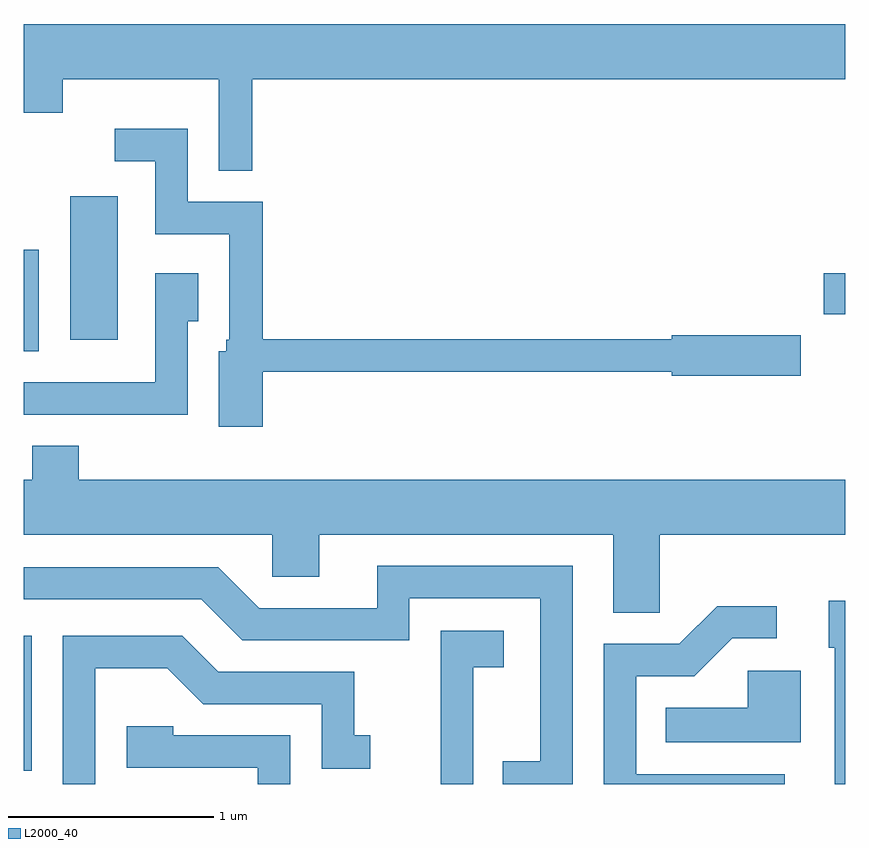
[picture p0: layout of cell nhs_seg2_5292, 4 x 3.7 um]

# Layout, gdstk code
import gdstk
lib = gdstk.Library(unit=1e-6, precision=1e-09)
def R(c, l, rs):  # rectangles x0, y0, x1, y1
    for r in rs: c.add(gdstk.rectangle(r[:2], r[2:], *l))
def P(c, l, *ps):  # polygons
    for p in ps: c.add(gdstk.Polygon(p, *l))
L2000_40 = (2000, 40)

nhs_seg2_5292 = lib.new_cell('nhs_seg2_5292')
R(nhs_seg2_5292, L2000_40, [(341.611,1013.866,341.649,1014.524), (341.611,1015.911,341.684,1016.404), (341.836,1015.966,342.069,1016.664), (345.506,1016.091,345.611,1016.289)])
P(nhs_seg2_5292, L2000_40, [(342.724,1017.236),(345.611,1017.236),(345.611,1017.504),(341.611,1017.504),(341.611,1017.071),(341.799,1017.071),(341.799,1017.236),(342.561,1017.236),(342.561,1016.788),(342.724,1016.788)],
  [(342.774,1015.811),(344.766,1015.811),(344.766,1015.791),(345.394,1015.791),(345.394,1015.989),(344.766,1015.989),(344.766,1015.969),(342.774,1015.969),(342.774,1016.639),(342.409,1016.639),(342.409,1016.994),(342.053,1016.994),(342.053,1016.836),(342.251,1016.836),(342.251,1016.481),(342.611,1016.481),(342.611,1015.965),(342.596,1015.965),(342.596,1015.909),(342.561,1015.909),(342.561,1015.541),(342.774,1015.541)],
  [(342.409,1016.056),(342.459,1016.056),(342.459,1016.289),(342.251,1016.289),(342.251,1015.759),(341.611,1015.759),(341.611,1015.601),(342.409,1015.601)],
  [(344.709,1015.016),(345.611,1015.016),(345.611,1015.284),(341.879,1015.284),(341.879,1015.449),(341.651,1015.449),(341.651,1015.284),(341.611,1015.284),(341.611,1015.016),(342.821,1015.016),(342.821,1014.811),(343.049,1014.811),(343.049,1015.016),(344.481,1015.016),(344.481,1014.636),(344.709,1014.636)],
  [(344.284,1014.864),(343.331,1014.864),(343.331,1014.659),(342.757,1014.659),(342.557,1014.859),(341.611,1014.859),(341.611,1014.701),(342.474,1014.701),(342.674,1014.501),(343.489,1014.501),(343.489,1014.706),(344.126,1014.706),(344.126,1013.914),(343.943,1013.914),(343.943,1013.802),(344.284,1013.802)],
  [(345.611,1014.694),(345.531,1014.694),(345.531,1014.466),(345.561,1014.466),(345.561,1013.802),(345.611,1013.802)],
  [(345.318,1013.849),(344.594,1013.849),(344.594,1014.326),(344.877,1014.326),(345.062,1014.511),(345.278,1014.511),(345.278,1014.669),(344.989,1014.669),(344.804,1014.484),(344.436,1014.484),(344.436,1013.802),(345.318,1013.802)],
  [(343.799,1014.371),(343.949,1014.371),(343.949,1014.549),(343.641,1014.549),(343.641,1013.802),(343.799,1013.802)],
  [(341.959,1014.366),(342.309,1014.366),(342.484,1014.191),(343.061,1014.191),(343.061,1013.876),(343.298,1013.876),(343.298,1014.039),(343.219,1014.039),(343.219,1014.349),(342.557,1014.349),(342.382,1014.524),(341.801,1014.524),(341.801,1013.802),(341.959,1013.802)],
  [(345.394,1014.354),(345.136,1014.354),(345.136,1014.174),(344.738,1014.174),(344.738,1014.006),(345.394,1014.006)],
  [(342.909,1014.039),(342.339,1014.039),(342.339,1014.084),(342.111,1014.084),(342.111,1013.881),(342.751,1013.881),(342.751,1013.802),(342.909,1013.802)])

lib.write_gds('nhs_seg2_5292.gds')
